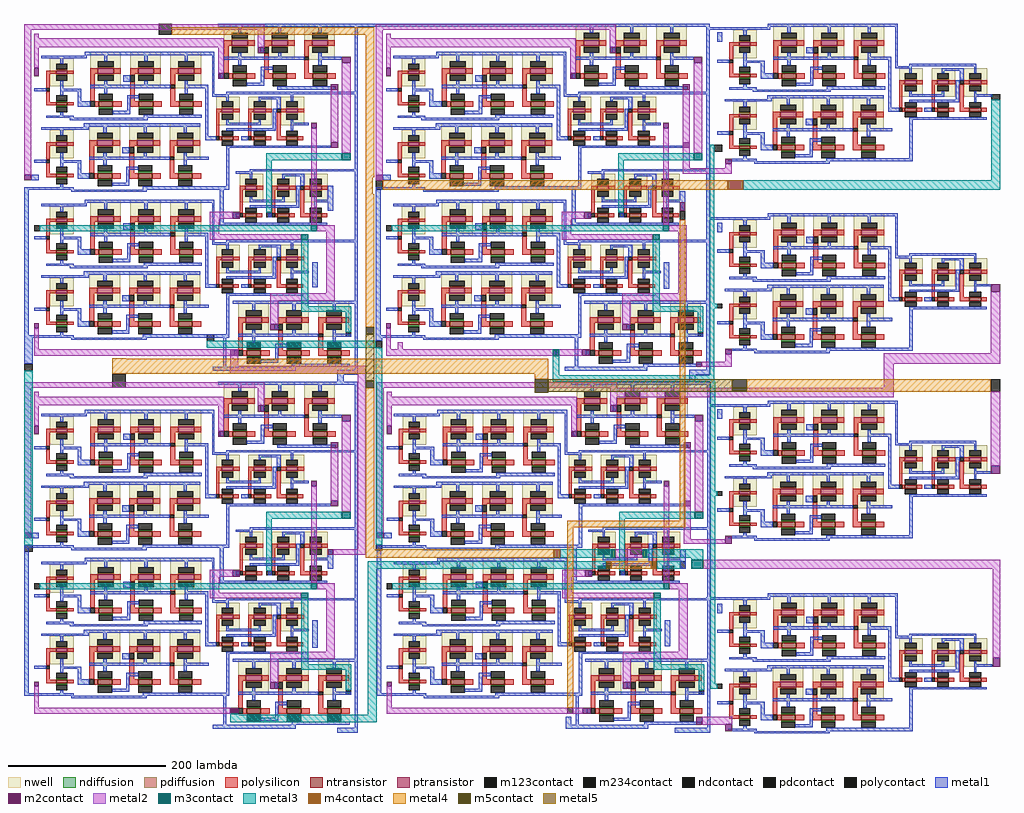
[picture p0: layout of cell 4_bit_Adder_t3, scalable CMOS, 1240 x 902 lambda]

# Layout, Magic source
magic
tech scmos
<< metal1 >>
rect 127 344 487 348
rect 577 340 606 343
rect 591 325 597 337
rect 96 135 103 142
rect 577 99 606 102
rect 591 83 597 95
rect 76 13 83 20
rect 523 11 530 20
rect -290 -84 -279 -48
rect 157 -55 165 -49
rect 108 -111 116 -92
rect 555 -111 563 -92
rect 578 -139 607 -136
rect 591 -154 597 -142
rect 577 -384 606 -381
rect 591 -401 597 -389
rect 76 -445 83 -435
rect 524 -443 531 -428
rect 398 -548 405 -533
rect 537 -553 558 -547
<< m2contact >>
rect 601 170 609 176
rect 543 110 550 121
rect 938 7 950 17
rect 601 -72 609 -65
rect 564 -88 571 -82
rect 938 -224 950 -214
rect 601 -313 609 -303
rect 96 -327 103 -320
rect 941 -469 950 -458
rect 564 -543 572 -533
rect 601 -551 610 -542
<< metal2 >>
rect -277 318 -271 335
rect 170 318 176 335
rect 547 164 556 198
rect 601 164 609 170
rect 547 157 609 164
rect 157 149 166 156
rect -28 -87 -18 -66
rect 185 -74 191 -57
rect 938 -71 950 7
rect 601 -82 609 -72
rect -28 -97 144 -87
rect 571 -88 609 -82
rect 802 -84 950 -71
rect -277 -137 -271 -120
rect 134 -320 144 -97
rect 802 -115 815 -84
rect 171 -137 177 -120
rect 455 -127 815 -115
rect 938 -214 950 -120
rect 548 -307 557 -258
rect 548 -313 601 -307
rect 103 -327 144 -320
rect 461 -331 496 -320
rect 573 -345 950 -333
rect 941 -458 950 -345
rect 572 -542 610 -533
rect 572 -543 601 -542
<< m3contact >>
rect 382 -74 390 -66
rect 456 -331 461 -320
rect 496 -331 501 -320
rect 558 -345 573 -333
<< m123contact >>
rect 939 251 950 258
rect 587 185 597 194
rect 591 -14 597 -8
rect -58 -55 -48 -47
rect 157 -64 165 -55
rect -290 -93 -279 -84
rect -290 -323 -279 -315
rect 591 -252 597 -246
rect 157 -322 165 -314
rect 544 -345 551 -335
rect 591 -497 597 -491
rect -28 -529 -18 -521
<< metal3 >>
rect 581 -8 587 194
rect 939 149 950 251
rect 624 137 950 149
rect 581 -14 591 -8
rect -58 -64 157 -55
rect -290 -315 -279 -93
rect 157 -314 165 -64
rect 382 -99 390 -74
rect 581 -99 587 -14
rect 382 -107 587 -99
rect 582 -246 588 -107
rect 582 -252 591 -246
rect 391 -331 456 -320
rect 501 -331 573 -320
rect 558 -333 573 -331
rect 147 -345 450 -335
rect 514 -345 544 -335
rect -28 -530 -18 -529
rect 147 -530 158 -345
rect 582 -491 588 -252
rect 582 -497 591 -491
rect -28 -540 158 -530
<< m234contact >>
rect -119 334 -102 348
rect 157 137 166 149
rect 543 99 550 110
rect -178 -115 -161 -97
rect 938 -120 950 -104
rect 400 -529 408 -521
<< m4contact >>
rect 604 137 624 149
rect 383 -331 391 -320
rect 450 -345 456 -335
rect 507 -345 514 -335
<< metal4 >>
rect -102 334 155 343
rect 144 153 155 334
rect 144 131 153 153
rect 166 137 604 149
rect 144 -38 155 131
rect -178 -78 -161 -77
rect -178 -97 376 -78
rect 359 -104 376 -97
rect 144 -320 155 -115
rect 543 -284 550 99
rect 628 -120 938 -104
rect 400 -292 550 -284
rect 144 -331 383 -320
rect 400 -521 408 -292
rect 456 -345 507 -335
<< m5contact >>
rect 144 -47 155 -38
rect 144 -115 155 -106
rect 359 -121 376 -104
rect 610 -120 628 -104
<< metal5 >>
rect 144 -106 155 -47
rect 376 -120 610 -104
use Full_Adder_t3  Full_Adder_t3_3
transform 1 0 171 0 1 -321
box -13 -232 411 214
use Full_Adder_t3  Full_Adder_t3_2
transform 1 0 -277 0 1 -321
box -13 -232 411 214
use Full_Adder_t3  Full_Adder_t3_1
transform 1 0 170 0 1 134
box -13 -232 411 214
use Full_Adder_t3  Full_Adder_t3_0
transform 1 0 -277 0 1 134
box -13 -232 411 214
use XOR  XOR_0
transform 1 0 735 0 1 259
box -144 -89 215 89
use XOR  XOR_2
transform 1 0 735 0 1 -465
box -144 -89 215 89
use XOR  XOR_3
transform 1 0 735 0 1 -220
box -144 -89 215 89
use XOR  XOR_1
transform 1 0 735 0 1 18
box -144 -89 215 89
<< end >>

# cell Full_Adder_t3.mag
magic
tech scmos
<< metal1 >>
rect 335 210 411 214
rect 379 168 391 172
rect 407 127 411 210
rect 323 124 411 127
rect 324 56 377 59
rect 407 29 411 124
rect 320 26 411 29
rect -4 15 6 22
rect -13 3 43 6
rect -13 -182 -7 3
rect 236 -39 241 7
rect 373 -24 380 1
rect 236 -42 296 -39
rect 407 -61 411 26
rect 323 -64 411 -61
rect 353 -114 360 -89
rect 407 -138 411 -64
rect 322 -142 411 -138
rect -13 -185 18 -182
rect 240 -222 244 -181
rect 327 -222 332 -218
rect 227 -227 332 -222
rect 407 -226 411 -142
rect 385 -232 411 -226
<< m2contact >>
rect 284 176 292 184
rect 391 164 402 172
rect 0 147 6 158
rect 234 144 241 151
rect 377 130 386 137
rect 352 81 359 88
rect 377 56 386 63
rect -13 15 -4 22
rect 252 -34 261 -25
rect 0 -173 6 -167
rect 300 -176 310 -168
rect 249 -208 259 -200
<< metal2 >>
rect -13 206 292 213
rect -13 22 -4 206
rect 0 184 241 195
rect 0 158 6 184
rect 234 151 241 184
rect 284 184 292 206
rect 223 -34 252 -25
rect 223 -54 235 -34
rect 352 -42 359 81
rect 377 63 386 130
rect 391 49 402 164
rect 359 -50 382 -42
rect 223 -61 339 -54
rect 371 -129 382 -50
rect 300 -138 382 -129
rect 0 -200 6 -173
rect 300 -168 310 -138
rect 0 -208 249 -200
<< m3contact >>
rect 391 40 402 49
rect 352 -50 359 -42
rect 339 -61 348 -54
<< m123contact >>
rect 295 -32 302 -26
rect 0 -50 7 -42
rect 396 -184 403 -178
<< metal3 >>
rect 295 40 391 49
rect 295 -26 302 40
rect 7 -50 352 -42
rect 339 -145 348 -61
rect 339 -152 403 -145
rect 396 -178 403 -152
use XOR  XOR_0
transform 1 0 144 0 1 89
box -144 -89 215 89
use XOR  XOR_1
transform 1 0 144 0 1 -99
box -144 -89 215 89
use AND_2  AND_2_0
transform 1 0 242 0 1 167
box -8 -37 143 47
use AND_2  AND_2_1
transform 1 0 260 0 1 -185
box -8 -37 143 47
use OR_2  OR_2_0
transform 1 0 303 0 1 -11
box -47 -31 71 40
<< end >>

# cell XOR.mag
magic
tech scmos
<< metal1 >>
rect -80 84 -77 89
rect 61 85 85 89
rect -135 81 -120 84
rect -96 81 -77 84
rect -31 51 -24 59
rect 68 43 77 47
rect -144 39 -129 43
rect -97 39 -84 42
rect -89 26 -84 39
rect -89 19 -73 26
rect -129 5 -121 8
rect -99 5 -94 8
rect -5 5 0 9
rect -99 2 0 5
rect -81 -7 -75 -2
rect -135 -10 -119 -7
rect -96 -10 -75 -7
rect 73 -18 77 43
rect 82 32 85 85
rect 194 -4 205 -1
rect 73 -23 87 -18
rect 119 -23 125 -18
rect -32 -40 -25 -32
rect 65 -48 78 -44
rect -144 -52 -129 -48
rect -101 -52 -84 -49
rect -89 -65 -84 -52
rect -89 -72 -74 -65
rect 100 -82 104 -30
rect -130 -86 -118 -83
rect -97 -86 -94 -83
rect -6 -86 -1 -82
rect 63 -86 104 -82
rect -97 -89 -1 -86
use OR_2  OR_2_0 /home/vsoham
transform 1 0 129 0 1 -2
box -47 -31 71 40
use AND_2  AND_2_1 /home/vsoham
transform 1 0 -73 0 1 -49
box -8 -37 143 47
use AND_2  AND_2_0
transform 1 0 -72 0 1 42
box -8 -37 143 47
use CMOS_in  CMOS_in_1 /home/vsoham
transform 1 0 -124 0 1 -46
box -13 -40 30 39
use CMOS_in  CMOS_in_0
transform 1 0 -124 0 1 45
box -13 -40 30 39
<< labels >>
flabel metal1 -144 -52 -137 -48 0 FreeSans 9 0 0 0 B
flabel metal1 -144 39 -137 43 0 FreeSans 9 0 0 0 A
flabel metal1 194 -4 205 -1 0 FreeSans 9 0 0 0 OUT
flabel metal1 65 -48 78 -44 0 FreeSans 9 0 0 0 ABc
flabel metal1 119 -23 125 -18 0 FreeSans 9 0 0 0 ABc
flabel metal1 -31 51 -24 59 0 FreeSans 9 0 0 0 B
flabel metal1 -32 -40 -25 -32 0 FreeSans 9 0 0 0 A
flabel metal1 -135 81 -123 84 0 FreeSans 9 0 0 0 VDD
flabel metal1 -135 -10 -123 -7 0 FreeSans 9 0 0 0 VDD
flabel metal1 -130 -86 -118 -83 0 FreeSans 9 0 0 0 GND
flabel metal1 -129 5 -121 8 0 FreeSans 9 0 0 0 GND
<< end >>

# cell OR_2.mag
magic
tech scmos
<< nwell >>
rect -42 -2 -12 34
rect -1 -2 29 34
rect 40 -2 70 34
<< ntransistor >>
rect -35 -21 -20 -16
rect 6 -21 21 -16
rect 47 -21 62 -16
<< ptransistor >>
rect -35 14 -20 19
rect 6 14 21 19
rect 47 14 62 19
<< ndiffusion >>
rect -35 -16 -20 -15
rect 6 -16 21 -15
rect 47 -16 62 -15
rect -35 -22 -20 -21
rect 6 -22 21 -21
rect 47 -22 62 -21
<< pdiffusion >>
rect -35 19 -20 21
rect 6 19 21 21
rect 47 19 62 21
rect -35 12 -20 14
rect 6 12 21 14
rect 47 12 62 14
<< ndcontact >>
rect -35 -15 -20 -9
rect 6 -15 21 -9
rect 47 -15 62 -9
rect -35 -28 -20 -22
rect 6 -28 21 -22
rect 47 -28 62 -22
<< pdcontact >>
rect -35 21 -20 28
rect 6 21 21 28
rect 47 21 62 28
rect -35 5 -20 12
rect 6 5 21 12
rect 47 5 62 12
<< polysilicon >>
rect -42 14 -35 19
rect -20 14 -12 19
rect -1 14 6 19
rect 21 14 29 19
rect 40 14 47 19
rect 62 14 70 19
rect -42 -16 -38 14
rect -1 -16 3 14
rect 35 -16 40 14
rect -38 -21 -35 -16
rect -20 -21 -13 -16
rect 3 -21 6 -16
rect 21 -21 28 -16
rect 35 -21 47 -16
rect 62 -21 69 -16
<< polycontact >>
rect 35 14 40 19
rect -42 -21 -38 -16
rect -1 -21 3 -16
<< metal1 >>
rect -29 37 56 40
rect -47 34 -26 37
rect -29 28 -26 34
rect 12 31 40 34
rect 12 28 15 31
rect 35 19 40 31
rect 53 28 56 37
rect 30 14 35 19
rect -29 1 -26 5
rect 12 1 15 5
rect -29 -2 15 1
rect 30 -6 34 14
rect -29 -9 34 -6
rect 53 1 56 5
rect 53 -2 71 1
rect 53 -9 56 -2
rect -47 -21 -42 -16
rect -6 -21 -1 -16
rect -29 -31 69 -28
<< end >>

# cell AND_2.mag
magic
tech scmos
<< nwell >>
rect -1 1 38 47
rect 50 1 89 47
rect 101 1 140 47
<< ntransistor >>
rect 10 -23 28 -16
rect 61 -23 79 -16
rect 112 -23 130 -16
<< ptransistor >>
rect 9 19 29 26
rect 60 19 80 26
rect 111 19 131 26
<< ndiffusion >>
rect 10 -16 28 -14
rect 61 -16 79 -14
rect 112 -16 130 -14
rect 10 -25 28 -23
rect 61 -25 79 -23
rect 112 -25 130 -23
<< pdiffusion >>
rect 9 26 29 28
rect 60 26 80 28
rect 111 26 131 28
rect 9 17 29 19
rect 60 17 80 19
rect 111 17 131 19
<< ndcontact >>
rect 10 -14 28 -6
rect 61 -14 79 -6
rect 112 -14 130 -6
rect 10 -33 28 -25
rect 61 -33 79 -25
rect 112 -33 130 -25
<< pdcontact >>
rect 9 28 29 35
rect 60 28 80 35
rect 111 28 131 35
rect 9 10 29 17
rect 60 10 80 17
rect 111 10 131 17
<< polysilicon >>
rect -1 19 9 26
rect 29 19 38 26
rect 50 19 60 26
rect 80 19 89 26
rect 101 19 111 26
rect 131 19 140 26
rect -1 -16 5 19
rect 50 17 56 19
rect 50 -16 56 9
rect 101 5 107 19
rect 101 -16 107 1
rect 5 -23 10 -16
rect 28 -23 39 -16
rect 50 -23 61 -16
rect 79 -23 90 -16
rect 101 -23 112 -16
rect 130 -23 141 -16
<< polycontact >>
rect 50 9 56 17
rect 101 1 107 5
rect -1 -23 5 -16
<< metal1 >>
rect -8 43 140 47
rect 17 35 21 43
rect 68 35 72 43
rect 119 35 123 43
rect 17 5 21 10
rect 45 9 50 17
rect 68 5 72 10
rect 119 5 123 10
rect -1 1 101 5
rect 119 1 143 5
rect 17 -6 21 1
rect 119 -6 123 1
rect 46 -12 61 -8
rect -6 -23 -1 -16
rect 46 -28 50 -12
rect 28 -32 50 -28
rect 67 -37 141 -33
<< end >>

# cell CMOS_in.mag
magic
tech scmos
<< nwell >>
rect 0 0 30 36
<< ntransistor >>
rect 8 -24 22 -20
<< ptransistor >>
rect 8 16 22 20
<< ndiffusion >>
rect 8 -20 22 -18
rect 8 -26 22 -24
<< pdiffusion >>
rect 8 20 22 22
rect 8 14 22 16
<< ndcontact >>
rect 8 -18 22 -11
rect 8 -33 22 -26
<< pdcontact >>
rect 8 22 22 29
rect 8 7 22 14
<< polysilicon >>
rect -5 16 8 20
rect 22 16 30 20
rect -5 -2 0 16
rect -5 -20 0 -6
rect -5 -24 8 -20
rect 22 -24 30 -20
<< polycontact >>
rect -5 -6 0 -2
<< metal1 >>
rect 0 36 30 39
rect 13 29 17 36
rect -13 -6 -5 -2
rect 13 -3 17 7
rect 13 -6 30 -3
rect 13 -11 17 -6
rect 13 -37 17 -33
rect 0 -40 30 -37
<< end >>
